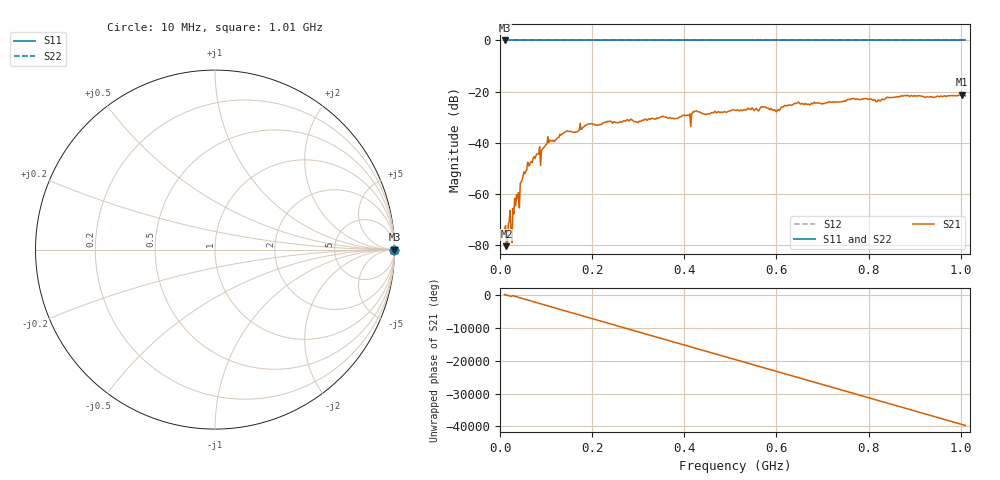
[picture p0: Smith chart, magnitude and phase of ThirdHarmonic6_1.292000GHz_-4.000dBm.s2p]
! 8/16/2025 2:08:25 PM
! C:\ANRITSUVNA\TEMP\TEMP.S2P
! CHANNEL.1
! TR.MEASUREMENT
! RAW.DATA
! RF.CORRECTION.OFF
! AVERAGING.OFF
! IF.BANDWIDTH: 5KHZ
! SWEEPTYPE:  FREQ.SWEEP(Linear)
! Reference Plane Port Info
! PORT:  PORT1  PORT2
! DISTANCE:  0  m  0  m
! TIME:  0  s  0  s
! PHASE.OFFSET:  0  deg.  0  deg.
! LOSS:  0  dB  0  dB
! REF.LOSS:  0  dB  0  dB
! REF.FREQ:  0  Hz  0  Hz
! Power Info
! POWER:  -20  dBm  -20  dBm
! EFF.POWER:  -20  dBm  -20  dBm
! SOURCE.ATTEN:  0  dB  0  dB
! TEST.ATTEN:  0  dB  0  dB
# GHZ S RI R 50.0
! FREQ.GHZ  S11RE  S11IM  S21RE  S21IM  S12RE  S12IM  S22RE  S22IM
!; PortSelection: Port_12
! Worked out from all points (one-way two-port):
!   501 points, 10 MHz to 1.01 GHz, reference 50 ohm
!   highest |S21| = -21.14 dB at 1.002 GHz (marker M1); lowest = -80.4 dB at 14 MHz (marker M2)
!   lowest |S11| = 0.0 dB at 10 MHz (marker M3)
!   |S11| at or under -10 dB: nowhere
!   |S22| runs from 0.0 to 0.0 dB; largest |S21 - S12| = 1.1
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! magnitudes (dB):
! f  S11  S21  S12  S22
! 10 MHz  0.0  -74.4  0.0  0.0
! 14 MHz  0.0  -80.4  0.0  0.0
! 28 MHz  0.0  -65.6  0.0  0.0
! 32 MHz  0.0  -61.7  0.0  0.0
! 36 MHz  0.0  -60.3  0.0  0.0
! 38 MHz  0.0  -61.9  0.0  0.0
! 46 MHz  0.0  -55.2  0.0  0.0
! 48 MHz  0.0  -54.4  0.0  0.0
! 64 MHz  0.0  -48.8  0.0  0.0
! 82 MHz  0.0  -44.2  0.0  0.0
! 92 MHz  0.0  -42.5  0.0  0.0
! 108 MHz  0.0  -39.0  0.0  0.0
! 178 MHz  0.0  -34.5  0.0  0.0
! 344 MHz  0.0  -30.3  0.0  0.0
! 510 MHz  0.0  -27.3  0.0  0.0
! 572 MHz  0.0  -25.9  0.0  0.0
! 602 MHz  0.0  -27.2  0.0  0.0
! 644 MHz  0.0  -24.6  0.0  0.0
! 678 MHz  0.0  -24.8  0.0  0.0
! 844 MHz  0.0  -22.4  0.0  0.0
! 1.002 GHz  0.0  -21.1  0.0  0.0
! 1.01 GHz  0.0  -21.7  0.0  0.0
